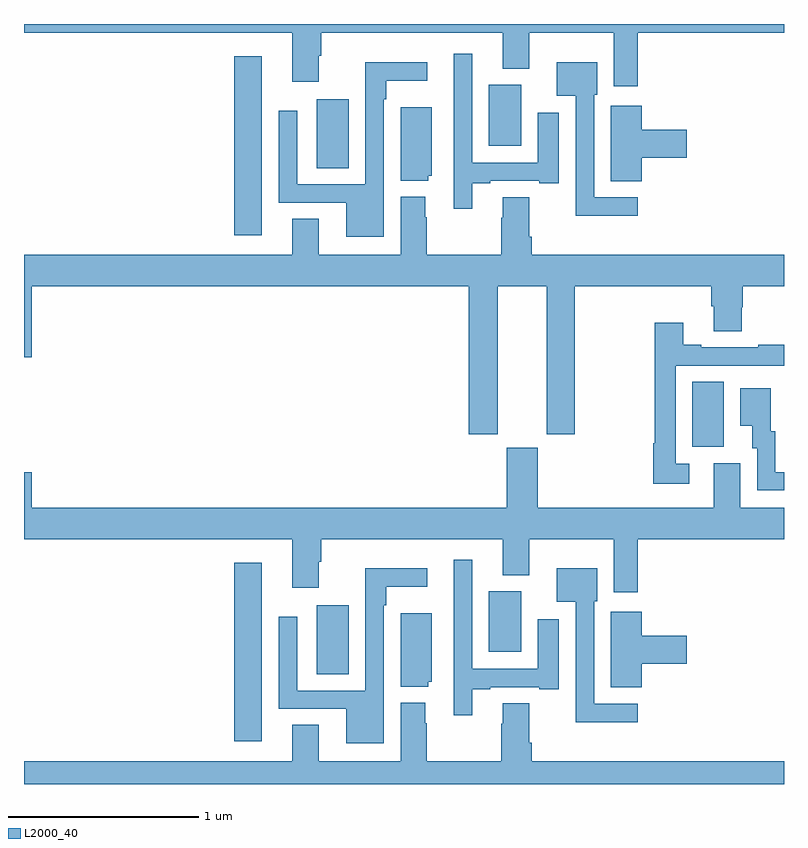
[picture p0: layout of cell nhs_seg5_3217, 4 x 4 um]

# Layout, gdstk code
import gdstk
lib = gdstk.Library(unit=1e-6, precision=1e-09)
def R(c, l, rs):  # rectangles x0, y0, x1, y1
    for r in rs: c.add(gdstk.rectangle(r[:2], r[2:], *l))
def P(c, l, *ps):  # polygons
    for p in ps: c.add(gdstk.Polygon(p, *l))
L2000_40 = (2000, 40)

nhs_seg5_3217 = lib.new_cell('nhs_seg5_3217')
R(nhs_seg5_3217, L2000_40, [(298.106,861.024,298.252,861.964), (298.541,861.376,298.708,861.739), (299.447,861.494,299.617,861.814), (300.518,862.573,300.682,862.916), (298.106,863.688,298.252,864.628), (298.541,864.04,298.708,864.403), (299.447,864.158,299.617,864.478)])
P(nhs_seg5_3217, L2000_40, [(300.23,864.752),(301,864.752),(301,864.799),(297,864.799),(297,864.752),(298.412,864.752),(298.412,864.495),(298.552,864.495),(298.552,864.632),(298.565,864.632),(298.565,864.752),(299.519,864.752),(299.519,864.563),(299.659,864.563),(299.659,864.752),(300.104,864.752),(300.104,864.471),(300.23,864.471)],
  [(299.359,863.961),(299.455,863.961),(299.455,863.973),(299.711,863.973),(299.711,863.961),(299.815,863.961),(299.815,864.331),(299.705,864.331),(299.705,864.069),(299.358,864.069),(299.358,864.643),(299.262,864.643),(299.262,863.826),(299.359,863.826)],
  [(298.893,864.404),(298.906,864.404),(298.906,864.5),(299.122,864.5),(299.122,864.598),(298.797,864.598),(298.797,863.955),(298.437,863.955),(298.437,864.343),(298.341,864.343),(298.341,863.859),(298.697,863.859),(298.697,863.678),(298.893,863.678)],
  [(300.229,863.886),(300,863.886),(300,864.426),(300.016,864.426),(300.016,864.598),(299.804,864.598),(299.804,864.422),(299.904,864.422),(299.904,863.789),(300.229,863.789)],
  [(300.251,864.095),(300.487,864.095),(300.487,864.242),(300.251,864.242),(300.251,864.37),(300.089,864.37),(300.089,863.971),(300.251,863.971)],
  [(299.127,864),(299.146,864),(299.146,864.361),(298.982,864.361),(298.982,863.975),(299.127,863.975)],
  [(299.494,863.42),(299.75,863.42),(299.75,862.641),(299.898,862.641),(299.898,863.42),(300.617,863.42),(300.617,863.314),(300.629,863.314),(300.629,863.182),(300.777,863.182),(300.777,863.307),(300.782,863.307),(300.782,863.42),(301,863.42),(301,863.584),(299.672,863.584),(299.672,863.68),(299.659,863.68),(299.659,863.888),(299.519,863.888),(299.519,863.78),(299.512,863.78),(299.512,863.584),(299.121,863.584),(299.121,863.783),(299.113,863.783),(299.113,863.89),(298.982,863.89),(298.982,863.584),(298.552,863.584),(298.552,863.774),(298.412,863.774),(298.412,863.584),(297,863.584),(297,863.046),(297.04,863.046),(297.04,863.42),(299.342,863.42),(299.342,862.641),(299.494,862.641)],
  [(300.502,862.485),(300.429,862.485),(300.429,863.001),(301,863.001),(301,863.11),(300.865,863.11),(300.865,863.097),(300.565,863.097),(300.565,863.11),(300.469,863.11),(300.469,863.227),(300.321,863.227),(300.321,862.592),(300.313,862.592),(300.313,862.38),(300.502,862.38)],
  [(301,862.44),(300.955,862.44),(300.955,862.656),(300.931,862.656),(300.931,862.882),(300.77,862.882),(300.77,862.685),(300.833,862.685),(300.833,862.566),(300.858,862.566),(300.858,862.344),(301,862.344)],
  [(300.23,862.088),(301,862.088),(301,862.252),(300.769,862.252),(300.769,862.488),(300.629,862.488),(300.629,862.252),(299.704,862.252),(299.704,862.569),(299.54,862.569),(299.54,862.252),(297.04,862.252),(297.04,862.441),(297,862.441),(297,862.088),(298.412,862.088),(298.412,861.831),(298.552,861.831),(298.552,861.968),(298.565,861.968),(298.565,862.088),(299.519,862.088),(299.519,861.899),(299.659,861.899),(299.659,862.088),(300.104,862.088),(300.104,861.807),(300.23,861.807)],
  [(299.359,861.297),(299.455,861.297),(299.455,861.309),(299.711,861.309),(299.711,861.297),(299.815,861.297),(299.815,861.667),(299.705,861.667),(299.705,861.405),(299.358,861.405),(299.358,861.979),(299.262,861.979),(299.262,861.162),(299.359,861.162)],
  [(300.229,861.222),(300,861.222),(300,861.762),(300.016,861.762),(300.016,861.934),(299.804,861.934),(299.804,861.758),(299.904,861.758),(299.904,861.125),(300.229,861.125)],
  [(298.893,861.74),(298.906,861.74),(298.906,861.836),(299.122,861.836),(299.122,861.934),(298.797,861.934),(298.797,861.291),(298.437,861.291),(298.437,861.679),(298.341,861.679),(298.341,861.195),(298.697,861.195),(298.697,861.014),(298.893,861.014)],
  [(300.251,861.431),(300.487,861.431),(300.487,861.578),(300.251,861.578),(300.251,861.706),(300.089,861.706),(300.089,861.307),(300.251,861.307)],
  [(299.127,861.336),(299.146,861.336),(299.146,861.697),(298.982,861.697),(298.982,861.311),(299.127,861.311)],
  [(301,860.92),(299.672,860.92),(299.672,861.016),(299.659,861.016),(299.659,861.224),(299.519,861.224),(299.519,861.116),(299.512,861.116),(299.512,860.92),(299.121,860.92),(299.121,861.119),(299.113,861.119),(299.113,861.226),(298.982,861.226),(298.982,860.92),(298.552,860.92),(298.552,861.11),(298.412,861.11),(298.412,860.92),(297,860.92),(297,860.799),(301,860.799)])

lib.write_gds('nhs_seg5_3217.gds')
